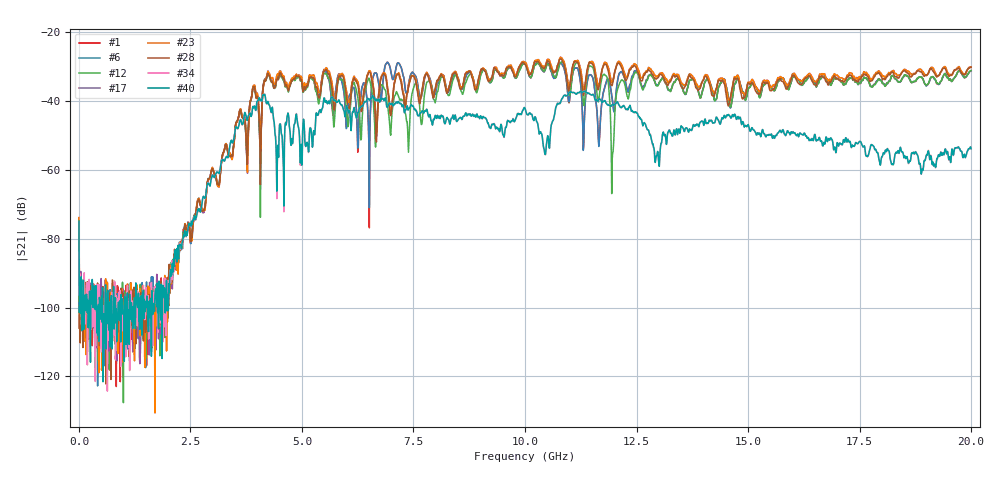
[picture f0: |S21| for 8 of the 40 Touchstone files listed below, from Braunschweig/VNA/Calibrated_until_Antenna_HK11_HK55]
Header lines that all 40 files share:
#  HZ  S  RI  R  50.00
! Rohde & Schwarz Vector Network Analyzer
! Rohde-Schwarz,ZNB20-2Port,1311601062102128,3.60
! freq[Hz]  re:S11  im:S11  re:S21  im:S21  re:S12  im:S12  re:S22  im:S22
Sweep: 100 kHz to 20 GHz
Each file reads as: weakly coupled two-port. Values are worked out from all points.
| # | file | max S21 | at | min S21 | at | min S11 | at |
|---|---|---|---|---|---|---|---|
| 1 | hk11_1.s2p | -28.69 dB | 6.919 GHz | -122.9 dB | 837.6 MHz | -49.9 dB | 9.332 GHz |
| 2 | hk11_2.s2p | -28.70 dB | 6.919 GHz | -118.2 dB | 538.5 MHz | -50.5 dB | 9.332 GHz |
| 3 | hk11_3.s2p | -28.70 dB | 6.909 GHz | -119.2 dB | 179.6 MHz | -51.0 dB | 9.332 GHz |
| 4 | hk11_4.s2p | -28.70 dB | 6.919 GHz | -128.0 dB | 797.7 MHz | -50.1 dB | 9.332 GHz |
| 5 | hk11_5.s2p | -28.71 dB | 6.919 GHz | -120.7 dB | 678.1 MHz | -49.8 dB | 9.332 GHz |
| 6 | hk11_6.s2p | -28.71 dB | 6.919 GHz | -122.7 dB | 418.8 MHz | -50.2 dB | 9.332 GHz |
| 7 | hk11_7.s2p | -28.71 dB | 6.919 GHz | -120.5 dB | 807.7 MHz | -49.5 dB | 6.461 GHz |
| 8 | hk11_8.s2p | -28.69 dB | 6.919 GHz | -118.2 dB | 299.2 MHz | -49.9 dB | 9.332 GHz |
| 9 | hk55_1.s2p | -28.46 dB | 10.83 GHz | -141.4 dB | 30.01 MHz | -57.4 dB | 9.342 GHz |
| 10 | hk55_2.s2p | -28.53 dB | 10.83 GHz | -121.2 dB | 1.745 GHz | -55.6 dB | 9.342 GHz |
| 11 | hk55_3.s2p | -28.54 dB | 10.83 GHz | -122.1 dB | 1.037 GHz | -55.0 dB | 9.342 GHz |
| 12 | hk55_4.s2p | -28.55 dB | 10.83 GHz | -127.6 dB | 997.1 MHz | -55.5 dB | 9.342 GHz |
| 13 | hk55_5.s2p | -28.49 dB | 10.83 GHz | -129.2 dB | 1.904 GHz | -54.9 dB | 9.342 GHz |
| 14 | hk55_6.s2p | -28.47 dB | 10.83 GHz | -125.6 dB | 1.665 GHz | -54.3 dB | 9.342 GHz |
| 15 | hk55_7.s2p | -28.52 dB | 10.83 GHz | -117.8 dB | 1.446 GHz | -56.1 dB | 9.342 GHz |
| 16 | hk55_8.s2p | -28.49 dB | 10.83 GHz | -132.7 dB | 1.206 GHz | -54.9 dB | 9.342 GHz |
| 17 | metal2_1.s2p | -27.26 dB | 10.8 GHz | -116.3 dB | 1.366 GHz | -56.9 dB | 6.54 GHz |
| 18 | metal2_2.s2p | -27.31 dB | 10.8 GHz | -121.5 dB | 468.7 MHz | -58.0 dB | 6.54 GHz |
| 19 | metal2_3.s2p | -27.21 dB | 10.8 GHz | -119.1 dB | 458.7 MHz | -57.7 dB | 6.54 GHz |
| 20 | metal2_4.s2p | -27.30 dB | 10.8 GHz | -117.7 dB | 498.6 MHz | -61.3 dB | 6.54 GHz |
| 21 | metal2_5.s2p | -27.32 dB | 10.82 GHz | -128.0 dB | 1.137 GHz | -58.9 dB | 6.54 GHz |
| 22 | metal2_6.s2p | -27.28 dB | 10.8 GHz | -120.2 dB | 1.266 GHz | -59.3 dB | 6.54 GHz |
| 23 | metal2_7.s2p | -27.26 dB | 10.8 GHz | -130.6 dB | 1.705 GHz | -59.7 dB | 6.54 GHz |
| 24 | metal2_8.s2p | -27.34 dB | 10.8 GHz | -121.6 dB | 1.914 GHz | -61.2 dB | 6.54 GHz |
| 25 | metal_1.s2p | -27.75 dB | 10.8 GHz | -126.0 dB | 1.296 GHz | -49.7 dB | 6.53 GHz |
| 26 | metal_2.s2p | -27.73 dB | 10.8 GHz | -125.8 dB | 1.326 GHz | -49.8 dB | 6.53 GHz |
| 27 | metal_3.s2p | -27.63 dB | 10.8 GHz | -123.0 dB | 1.067 GHz | -51.2 dB | 6.53 GHz |
| 28 | metal_4.s2p | -27.75 dB | 10.8 GHz | -122.2 dB | 608.3 MHz | -50.2 dB | 6.53 GHz |
| 29 | metal_5.s2p | -27.80 dB | 10.8 GHz | -127.9 dB | 1.256 GHz | -49.5 dB | 6.53 GHz |
| 30 | metal_6.s2p | -27.77 dB | 10.8 GHz | -120.6 dB | 1.605 GHz | -49.9 dB | 6.53 GHz |
| 31 | metal_7.s2p | -27.65 dB | 10.8 GHz | -120.3 dB | 149.7 MHz | -49.0 dB | 6.53 GHz |
| 32 | metal_8.s2p | -27.83 dB | 10.8 GHz | -124.4 dB | 538.5 MHz | -50.1 dB | 6.53 GHz |
| 33 | noDUT_1.s2p | -37.13 dB | 11.34 GHz | -121.3 dB | 957.2 MHz | -45.1 dB | 10.93 GHz |
| 34 | noDUT_2.s2p | -37.07 dB | 11.33 GHz | -124.2 dB | 638.2 MHz | -45.2 dB | 10.93 GHz |
| 35 | noDUT_3.s2p | -37.09 dB | 11.35 GHz | -122.1 dB | 1.047 GHz | -45.0 dB | 10.93 GHz |
| 36 | noDUT_4.s2p | -37.09 dB | 11.34 GHz | -127.3 dB | 10.07 MHz | -45.3 dB | 10.93 GHz |
| 37 | noDUT_5.s2p | -37.10 dB | 11.34 GHz | -122.3 dB | 169.6 MHz | -45.0 dB | 10.93 GHz |
| 38 | noDUT_6.s2p | -37.07 dB | 11.34 GHz | -127.8 dB | 269.3 MHz | -45.0 dB | 10.93 GHz |
| 39 | noDUT_7.s2p | -37.07 dB | 11.35 GHz | -125.9 dB | 1.545 GHz | -45.1 dB | 10.93 GHz |
| 40 | noDUT_8.s2p | -37.08 dB | 11.34 GHz | -121.5 dB | 538.5 MHz | -45.2 dB | 10.93 GHz |
